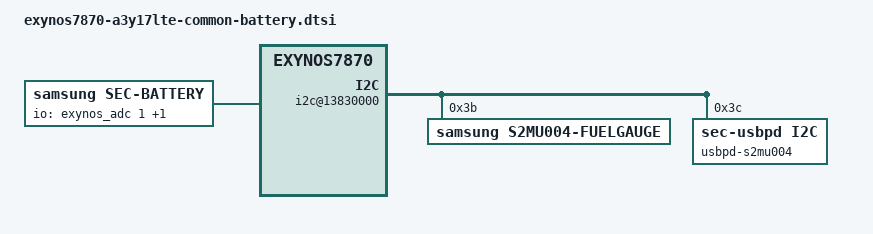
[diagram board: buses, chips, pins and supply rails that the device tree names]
/*
 * Copyright (c) 2016 Samsung Electronics Co., Ltd.
 *		http://www.samsung.com
 *
 * This program is free software; you can redistribute it and/or modify
 * it under the terms of the GNU General Public License version 2 as
 * published by the Free Software Foundation.
*/

/ {
	pinctrl@139F0000 {
		fuel_irq: fuel-irq {
			samsung,pins = "gpa0-3";
			samsung,pin-function = <0>;
			samsung,pin-pud = <2>;
			samsung,pin-drv = <0>;
		};

		if_pmic_irq: if-pmic-irq {
			samsung,pins = "gpa2-7";
			samsung,pin-function = <0>;
			samsung,pin-pud = <0>;
			samsung,pin-drv = <0>;
		};

		usbpd_irq: usbpd-irq {
			samsung,pins = "gpa0-5";
			samsung,pin-function = <0x0f>;
			samsung,pin-pud = <0>;
			samsung,pin-drv = <0>;
		};
	};

	i2c@13830000 {
		i2c-gpio,delay-us = <5>;
		status = "okay";
		s2mu004-fuelgauge@3B {
			compatible = "samsung,s2mu004-fuelgauge";
			reg = <0x3B>;
			pinctrl-names = "default";
			pinctrl-0 = <&fuel_irq>;
			fuelgauge,fuel_int = <&gpa0 3 0>;
			fuelgauge,fuel_alert_soc = <1>;
			fuelgauge,fuel_alert_vol = <3300>;
			fuelgauge,capacity_max = <1000>;
			fuelgauge,capacity_max_margin = <200>;
			fuelgauge,capacity_min = <0>;
			fuelgauge,capacity_calculation_type = <28>;
			fuelgauge,capacity_full = <2450>;
			fuelgauge,type_str = "SDI";
			fuelgauge,model_type = <1>;
		};
		usbpd-s2mu004@3C {
			compatible = "sec-usbpd,i2c";
			reg = <0x3C>;
			pinctrl-names = "default";
			pinctrl-0     = <&usbpd_irq>;
			usbpd,usbpd_int = <&gpa0 5 0>;
		};
	};

	battery_params {
			battery,battery_data =
				<
				/***** battery data for 4.35 *****/
				/* battery,battery_table3 */
				229 11 77 11 180 10 30 10 160 9
				43 9 192 8 92 8 224 7 154 7
				62 7 228 6 168 6 124 6 90 6
				64 6 35 6 251 5 198 5 145 5
				69 5 168 1 244 8 132 8 21 8
				165 7 53 7 197 6 85 6 229 5
				118 5 6 5 150 4 38 4 182 3
				70 3 214 2 103 2 247 1 135 1
				23 1 167 0 55 0 200 15
				/* battery,battery_table4 */
				69 69 69 69 67 68 66 67 67 65
				66 66 68 69 70 71 73 77 84 94
				112 212

				/* battery,batcap */
				0xF0 0x23 0xFC 0x08 /* [0x0E] [0x0F] [0x10] [0x11] */
				/* battery,accum */
				0x7 0xD8 /* [0x45] [0x44] */

				/* battery,soc_arr_val */
				11193 10647 10101 9555 9009 8462 7916 7370 6824 6278 5732 5185 4639 4093 3547 3001 2455 1909 1362 816 270 (-276)
				/* battery,ocv_arr_val */
				44869 44124 43379 42645 42030 41459 40940 40447 39846 39501 39051 38615 38319 38107 37942 37814 37669 37478 37216 36958 36588 32070


				/***** battery data for 4.33 *****/
				/* battery,battery_table3 */
				104 11 234 10 108 10 237 9 119 9
				9 9 163 8 46 8 212 7 139 7
				36 7 213 6 160 6 118 6 86 6
				57 6 32 6 246 5 199 5 136 5
				106 5 122 2 221 8 110 8 0 8
				146 7 35 7 181 6 70 6 216 5
				105 5 251 4 140 4 30 4 175 3
				65 3 211 2 100 2 246 1 135 1
				25 1 171 0 60 0 206 15

				/* battery,battery_table4 */
				84 84 84 81 77 79 77 74 78 76
				74 76 77 79 79 79 82 82 98 103
				135 187

				/* battery,batcap */
				0x7C 0x24 0x1F 0x09 /* [0x0E] [0x0F] [0x10] [0x11] */
				/* battery,accum */
				0x8 0x00 /* [0x45] [0x44] */

				/* battery,soc_arr_val */
				11078 10539 10000 9461 8922 8382 7843 7304 6765 6225 5686 5146 4607 4068 3529 2990 2450 1911 1372 833 294 (-246)
				/* battery,ocv_arr_val */
				44260 43643 43026 42409 41831 41295 40797 40226 39786 39429 38924 38539 38279 38078 37920 37779 37658 37451 37221 36914 36766 33098

				/***** battery data for 4.31 *****/
				/* battery,battery_table3 */
				185 11 54 11 180 10 49 10 175 9
				59 9 205 8 122 8 234 7 175 7
				89 7 242 6 180 6 135 6 99 6
				69 6 45 6 6 6 222 5 157 5
				126 5 196 3 86 9 228 8 114 8
				0 8 142 7 28 7 171 6 57 6
				199 5 85 5 227 4 114 4 0 4
				142 3 28 3 170 2 56 2 199 1
				85 1 227 0 113 0 255 15

				/* battery,battery_table4 */
				77 77 77 75 73 74 73 74 78 76
				75 77 78 79 80 80 83 94 102 120
				151 234

				/* battery,batcap */
				0x50 0x23 0xd4 0x08 /* [0x0E] [0x0F] [0x10] [0x11] */
				/* battery,accum */
				0x8 0x00 /* [0x45] [0x44] */

				/* battery,soc_arr_val */
				11668 11112 10556 10000 9444 8888 8333 7777 7221 6665 6110 5555 4999 4443 3887 3331 2776 2220 1664 1108 553 (-3)
				/* battery,ocv_arr_val */
				44652 44015 43378 42741 42104 41540 41001 40598 39893 39603 39183 38681 38378 38158 37982 37839 37720 37530 37333 37017 36864 34707

				/***** battery data for 4.29 *****/
				/* battery,battery_table3 */
				137 11 9 11 137 10 9 10 137 9
				24 9 172 8 67 8 217 7 148 7
				49 7 217 6 163 6 121 6 88 6
				61 6 33 6 248 5 199 5 137 5
				105 5 123 2 94 9 233 8 117 8
				0 8 139 7 22 7 162 6 45 6
				184 5 67 5 207 4 90 4 229 3
				112 3 251 2 135 2 18 2 157 1
				40 1 180 0 63 0 202 15

				/* battery,battery_table4 */
				76 76 76 76 74 72 74 72 76 74
				74 73 73 75 77 78 81 83 90 104
				126 188

				/* battery,batcap */
				0x60 0x22 0x98 0x08 /* [0x0E] [0x0F] [0x10] [0x11] */
				/* battery,accum */
				0x8 0x00 /* [0x45] [0x44] */

				/* battery,soc_arr_val */
				11710 11140 10570 10000 9430 8860 8290 7719 7149 6579 6009 5439 4869 4298 3728 3158 2588 2018 1447 877 307 (-263)
				/* battery,ocv_arr_val */
				44421 43796 43171 42546 41921 41365 40840 40327 39808 39474 38990 38561 38296 38093 37931 37799 37659 37459 37222 36921 36761 33101

				/***** battery data for 4.24 *****/
				/* battery,battery_table3 */
				144 11 22 11 156 10 34 10 168 9
				46 9 191 8 100 8 226 7 163 7
				71 7 229 6 171 6 128 6 94 6
				65 6 38 6 253 5 208 5 142 5
				119 5 75 3 232 9 110 9 244 8
				122 8 0 8 134 7 12 7 146 6
				24 6 158 5 36 5 170 4 47 4
				181 3 59 3 193 2 71 2 205 1
				83 1 217 0 95 0 229 15

				/* battery,battery_table4 */
				75 75 75 75 73 72 71 75 73 74
				74 74 76 78 79 79 82 89 100 122
				163 203

				/* battery,batcap */
				0xF8 0x20 0x3E 0x08 /* [0x0E] [0x0F] [0x10] [0x11] */
				/* battery,accum */
				0x8 0x00 /* [0x45] [0x44] */

				/* battery,soc_arr_val */
				12384 11788 11192 10596 10000 9404 8808 8212 7616 7020 6424 5828 5232 4636 4040 3444 2848 2252 1656 1060 464 (-132)
				/* battery,ocv_arr_val */
				44452 43857 43262 42667 42072 41477 40932 40490 39854 39545 39095 38617 38336 38124 37958 37819 37688 37487 37264 36945 36832 34115
				>;

			battery,battery_table3 = <229 11 77 11 180 10 30 10 160 9
						43 9 192 8 92 8 224 7 154 7
						62 7 228 6 168 6 124 6 90 6
						64 6 35 6 251 5 198 5 145 5
						69 5 168 1 244 8 132 8 21 8
						165 7 53 7 197 6 85 6 229 5
						118 5 6 5 150 4 38 4 182 3
						70 3 214 2 103 2 247 1 135 1
						23 1 167 0 55 0 200 15>;

			battery,battery_table4 = <69 69 69 69 67 68 66 67 67 65
						66 66 68 69 70 71 73 77 84 94
						112 212>;

			battery,batcap = <0xF0 0x23 0xFC 0x08>; /* [0x0E] [0x0F] [0x10] [0x11] */
			battery,accum = <0x7 0xD8>; /* [0x45] [0x44] */

			battery,soc_arr_val = <11193 10647 10101 9555 9009 8462 7916 7370 6824 6278 5732 5185 4639 4093 3547 3001 2455 1909 1362 816 270 (-276)>;
			battery,ocv_arr_val = <44869 44124 43379 42645 42030 41459 40940 40447 39846 39501 39051 38615 38319 38107 37942 37814 37669 37478 37216 36958 36588 32070>;
	};

	pdic-manager {
		/* sink */
		pdic,max_power = <5000>;
		pdic,op_power = <2500>;
		pdic,max_voltage = <6000>;
		pdic,max_current = <2000>;
		pdic,min_current = <500>;

		pdic,giveback = <0>;
		pdic,usb_com_capable = <1>;
		pdic,no_usb_suspend = <1>;

		/* source */
		source,max_voltage = <5000>;
		source,min_voltage = <4000>;
		source,max_power = <2500>;

		/* sink cap */
		sink,capable_max_voltage = <5000>;
	};

	battery {
		status = "okay";
		compatible = "samsung,sec-battery";

		pinctrl-names = "default";

		battery,vendor = "SDI SDI";
		battery,charger_name = "s2mu004-charger";
		battery,fuelgauge_name = "s2mu004-fuelgauge";
		battery,technology = <2>; /* POWER_SUPPLY_TECHNOLOGY_LION */

		battery,chip_vendor = "LSI";
		battery,temp_adc_type = <1>; /* SEC_BATTERY_ADC_TYPE_AP */

		battery,chg_temp_check = <0>;
		battery,slave_chg_temp_check = <0>;

		battery,polling_time = <10 30 30 30 3600>;

		battery,temp_table_adc = <288 348 403 483 549 645 734 882 1036 1200 1378 1645 1776 1907 1998 2030
								2259 2500 2715 2928 3113 3278 3381 3519 3616>;
		battery,temp_table_data = <900 850 800 750 700 650 600 550 500 450 400 350 320 290 270 250
								200 150 100 50 0 (-50) (-100) (-150) (-200)>;

		battery,input_current_limit = <1500 450 450 1500 500 900 1500 450 1000 450 900 900 900 1900 1500 450 450 400 700 1300 300 1000 1500 450 1650 2100 1000 1650 80 1800 1650 1400 1000 1000 700 900 900 900 500 2000 1600 3000>;
		battery,fast_charging_current = <1775 450 450 1775 800 1200 1500 450 1200 450 1775 1775 1775 1600 1775 450 450 400 700 1300 300 1000 1500 450 3000 3500 1000 3000 80 1800 1000 1775 450 1000 1675 1775 1775 1775 450 3000 3000 3000>;
		battery,full_check_current_1st = <150 0 0 150 150 150 150 150 150 0 150 150 150 150 150 0 0 150 150 150 150 150 150 0 150 150 150 150 0 150 150 150 0 150 150 150 150 150 150 150 150 150>;
		battery,full_check_current_2nd = <100 0 0 100 100 100 100 100 100 0 100 100 100 100 100 0 0 100 100 100 100 100 100 0 100 100 100 100 0 100 100 100 0 100 100 100 100 100 100 100 100 100>;

		battery,wireless_cc_cv = <85>;
		battery,inbat_voltage = <1>;

		battery,inbat_voltage_table_adc = <2869 2849 2819 2790 2759 2734 2703 2680 2649 2620
						2592 2561 2536 2503 2471 2443 2421 2391 2365 2333 2303>;
		battery,inbat_voltage_table_data = <4383 4352 4306 4253 4204 4152 4101 4056 4002 3954
						3903 3852 3801 3750 3702 3654 3601 3552 3503 3456 3402>;

		battery,adc_check_count = <5>;

		battery,cable_check_type = <4>; /* SEC_BATTERY_CABLE_CHECK_PSY */
		battery,cable_source_type = <1>; /* SEC_BATTERY_CABLE_SOURCE_EXTERNAL */
		battery,polling_type = <1>; /* SEC_BATTERY_MONITOR_ALARM */
		battery,monitor_initial_count = <0>;

		battery,battery_check_type = <0>; /* SEC_BATTERY_CHECK_NONE */
		battery,check_count = <0>;
		battery,check_adc_max = <1440>;
		battery,check_adc_min = <0>;

		battery,ovp_uvlo_check_type = <3>; /* SEC_BATTERY_OVP_UVLO_CHGPOLLING */

		battery,thermal_source = <2>; /* SEC_BATTERY_THERMAL_SOURCE_ADC */

		battery,temp_check_type = <2>; /* SEC_BATTERY_TEMP_CHECK_TEMP */
		battery,temp_check_count = <1>;
		battery,temp_highlimit_threshold_normal = <800>;
		battery,temp_highlimit_recovery_normal = <750>;
		battery,temp_high_threshold_normal = <500>;
		battery,temp_high_recovery_normal = <450>;
		battery,temp_low_threshold_normal = <0>;
		battery,temp_low_recovery_normal = <50>;
		battery,temp_highlimit_threshold_lpm = <800>;
		battery,temp_highlimit_recovery_lpm = <750>;
		battery,temp_high_threshold_lpm = <500>;
		battery,temp_high_recovery_lpm = <450>;
		battery,temp_low_threshold_lpm = <0>;
		battery,temp_low_recovery_lpm = <50>;

		battery,full_check_type = <2>; /* SEC_BATTERY_FULLCHARGED_FG_CURRENT */
		battery,full_check_type_2nd = <2>; /* SEC_BATTERY_FULLCHARGED_FG_CURRENT */
		battery,full_check_count = <1>;
		battery,chg_gpio_full_check = <0>;
		battery,chg_polarity_full_check = <1>;

		battery,chg_12v_high_temp = <615>;
		battery,chg_high_temp = <500>;
		battery,chg_high_temp_recovery = <495>;
		/* battery,chg_charging_limit_current = <1300>; */

		battery,wpc_high_temp = <460 495>;
		battery,wpc_high_temp_recovery = <459 400>;
		battery,wpc_charging_limit_current = <540 400>;
		battery,wpc_heat_temp_recovery = <360>;
		battery,wpc_lcd_on_high_temp = <470>;
		battery,wpc_lcd_on_high_temp_rec = <300>;
		battery,wpc_hv_lcd_on_input_limit_current = <400>;

		battery,sleep_mode_limit_current = <500>;
		battery,wc_full_input_limit_current = <100>;
		battery,wc_heating_input_limit_current = <400>;
		battery,wc_heating_time = <300>; /* 5 min */
		battery,wc_cv_current = <820>;
		battery,wc_cv_pack_current = <630>;

		battery,mix_high_temp = <420>;
		battery,mix_high_chg_temp = <500>;
		battery,mix_high_temp_recovery = <390>;

		/* SEC_BATTERY_FULL_CONDITION_SOC |
		   SEC_BATTERY_FULL_CONDITION_NOTIMEFULL |
		   SEC_BATTERY_FULL_CONDITION_VCELL */
		battery,full_condition_type = <13>;
		battery,full_condition_soc = <93>;
		battery,full_condition_vcell = <4250>;

		battery,recharge_check_count = <1>;
		battery,recharge_condition_type = <4>; /* SEC_BATTERY_RECHARGE_CONDITION_VCELL */
		battery,recharge_condition_soc = <98>;
		battery,recharge_condition_vcell = <4280>;

		battery,expired_time = <10200>;
		battery,recharging_expired_time = <5400>;
		battery,standard_curr = <1500>;

		battery,charging_total_time = <21600>;
		battery,recharging_total_time = <5400>;
		battery,charging_reset_time = <0>;

		battery,chg_float_voltage = <4350>;

		battery,swelling_high_temp_block = <410>;
		battery,swelling_high_temp_recov = <390>;

		battery,swelling_low_temp_2step_mode = <1>;
		battery,swelling_low_temp_block_1st = <150>;
		battery,swelling_low_temp_recov_1st = <200>;
		battery,swelling_low_temp_block_2nd = <50>;
		battery,swelling_low_temp_recov_2nd = <100>;

		battery,swelling_low_temp_current = <550>;	/* 0.3C */
		battery,swelling_low_temp_topoff = <150>;	/* 0.05C */
		battery,swelling_high_temp_current = <825>;	/* 0.45C */
		battery,swelling_high_temp_topoff = <150>;	/* 0.05C */

		battery,swelling_drop_float_voltage = <4150>;
		battery,swelling_high_rechg_voltage = <4000>;
		battery,swelling_low_rechg_voltage = <4000>;

		battery,self_discharging_temp_block = <600>;
		battery,self_discharging_volt_block = <4250>;
		battery,self_discharging_temp_recov = <550>;
		battery,self_discharging_temp_pollingtime = <400>;

		battery,siop_event_check_type = <1>;
		battery,siop_call_cv_current = <330>;
		battery,siop_call_cc_current = <330>;

		battery,siop_input_limit_current = <1200>;
		battery,siop_charging_limit_current = <1000>;
		battery,siop_hv_input_limit_current = <700>;
		battery,siop_hv_charging_limit_current = <1000>;
		battery,siop_hv_12v_input_limit_current = <535>;
		battery,siop_hv_12v_charging_limit_current = <1000>;

		battery,siop_wireless_input_limit_current = <600>;
		battery,siop_wireless_charging_limit_current = <1000>;
		battery,siop_hv_wireless_input_limit_current = <600>;
		battery,siop_hv_wireless_charging_limit_current = <1000>;

                battery,ttf_hv_12v_charge_current = <2350>;
		battery,ttf_hv_charge_current = <2200>;
		battery,ttf_hv_wireless_charge_current = <1500>;

		/* cycle, chg_float_voltage, recharge_condition_vcell, full_condition_vcell, full_condition_soc */
		battery,age_data = <0 4350 4280 4250 92	/*4.35*/
				200 4330 4260 4230 91	/*4.33*/
				250 4310 4240 4210 89	/*4.31*/
				300 4290 4220 4190 87	/*4.29*/
				1000 4240 4170 4140 83	/*4.24*/
				>;

		/* values for using CONFIG_STEP_CHARGING */
		battery,step_charging_type = <0x5>;
		battery,step_charging_charge_power = <20000>;
		battery,step_charging_condtion = <4100 4400>;
		battery,step_charging_current = <4200 3000>;
		/* values for not using CONFIG_STEP_CHARGING */
		battery,base_charge_power = <7500>; /* mW */
		battery,max_charging_current = <2100>;
		battery,pd_current_efficiency = <100>;

		battery,max_input_voltage = <5000>; /* mV */
		battery,max_input_current = <1500>;  /* mA */

		battery,prepare_afc_delay = <0>;

		battery,cisd_data_efs_path = "a3y17lte";
	
		io-channels = <&exynos_adc 1>, <&exynos_adc 3>;
		io-channel-names = "adc-temp", "adc-in-bat";
		#io-channel-cells = <5>;
		io-channel-ranges;
	};

	s2mu004-charger {
		status = "disable";
		compatible = "samsung,s2mu004-charger";
		battery,is_1MHz_switching = <1>;
		battery,chg_gpio_en = <0>;
		battery,chg_polarity_en = <0>;
		battery,chg_gpio_status = <0>;
		battery,chg_polarity_status = <0>;
	};

};
